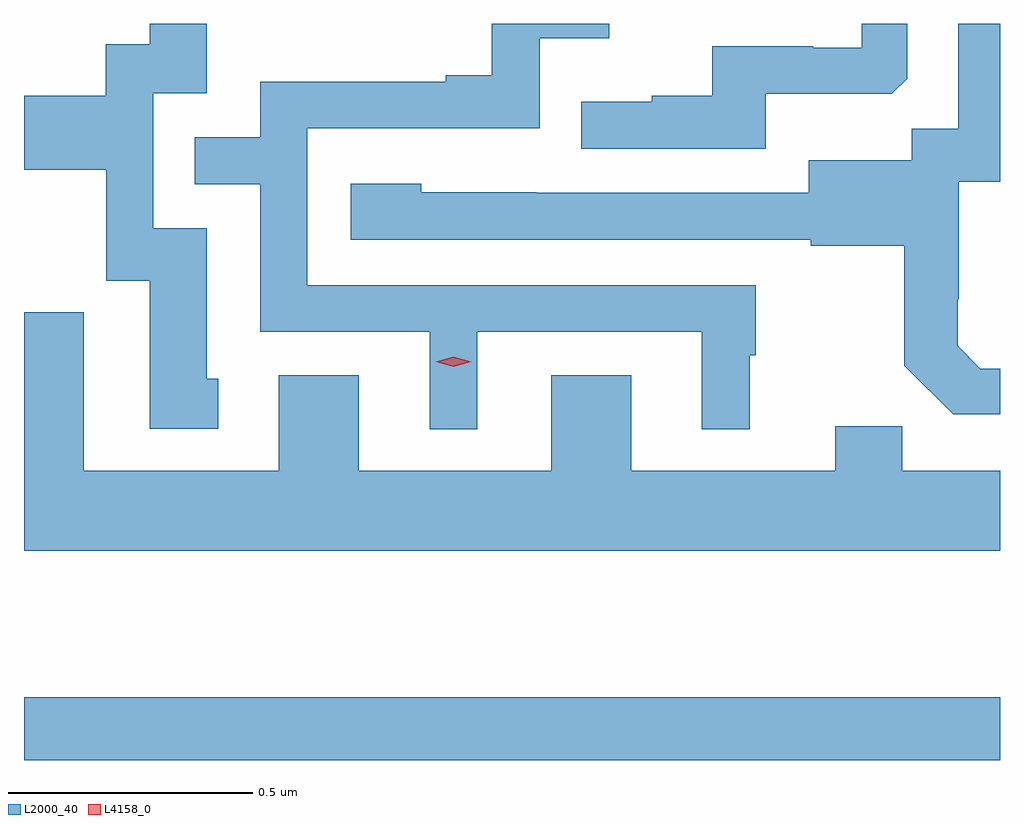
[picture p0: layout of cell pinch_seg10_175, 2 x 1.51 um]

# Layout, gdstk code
import gdstk
lib = gdstk.Library(unit=1e-6, precision=1e-09)
def R(c, l, rs):  # rectangles x0, y0, x1, y1
    for r in rs: c.add(gdstk.rectangle(r[:2], r[2:], *l))
def P(c, l, *ps):  # polygons
    for p in ps: c.add(gdstk.Polygon(p, *l))
L2000_40 = (2000, 40)
L4158_0 = (4158, 0)

pinch_seg10_175 = lib.new_cell('pinch_seg10_175')
R(pinch_seg10_175, L2000_40, [(645.467,1254.598,647.467,1254.727)])
P(pinch_seg10_175, L2000_40, [(647.467,1255.401),(647.427,1255.401),(647.38,1255.448),(647.38,1255.543),(647.382,1255.543),(647.382,1255.784),(647.467,1255.784),(647.467,1256.108),(647.381,1256.108),(647.381,1255.892),(647.286,1255.892),(647.286,1255.828),(647.075,1255.828),(647.075,1255.761),(646.517,1255.761),(646.517,1255.762),(646.281,1255.762),(646.281,1255.78),(646.137,1255.78),(646.137,1255.665),(647.079,1255.665),(647.079,1255.653),(647.271,1255.653),(647.271,1255.407),(647.371,1255.307),(647.467,1255.307)],
  [(646.396,1255.476),(646.856,1255.476),(646.856,1255.277),(646.954,1255.277),(646.954,1255.428),(646.966,1255.428),(646.966,1255.572),(646.047,1255.572),(646.047,1255.893),(646.524,1255.893),(646.524,1256.078),(646.666,1256.078),(646.666,1256.108),(646.426,1256.108),(646.426,1256.002),(646.331,1256.002),(646.331,1255.989),(645.951,1255.989),(645.951,1255.875),(645.817,1255.875),(645.817,1255.779),(645.951,1255.779),(645.951,1255.476),(646.298,1255.476),(646.298,1255.277),(646.396,1255.277)],
  [(646.987,1255.964),(647.245,1255.964),(647.277,1255.995),(647.277,1256.108),(647.184,1256.108),(647.184,1256.058),(647.084,1256.058),(647.084,1256.061),(646.877,1256.061),(646.877,1255.96),(646.753,1255.96),(646.753,1255.948),(646.609,1255.948),(646.609,1255.851),(646.987,1255.851)],
  [(645.865,1255.38),(645.841,1255.38),(645.841,1255.689),(645.732,1255.689),(645.732,1255.965),(645.841,1255.965),(645.841,1256.108),(645.725,1256.108),(645.725,1256.066),(645.635,1256.066),(645.635,1255.96),(645.467,1255.96),(645.467,1255.808),(645.636,1255.808),(645.636,1255.581),(645.725,1255.581),(645.725,1255.278),(645.865,1255.278)],
  [(647.467,1255.192),(647.267,1255.192),(647.267,1255.283),(647.129,1255.283),(647.129,1255.192),(646.711,1255.192),(646.711,1255.387),(646.547,1255.387),(646.547,1255.192),(646.153,1255.192),(646.153,1255.387),(645.989,1255.387),(645.989,1255.192),(645.589,1255.192),(645.589,1255.516),(645.467,1255.516),(645.467,1255.028),(647.467,1255.028)])
P(pinch_seg10_175, L4158_0, [(646.347,1255.405),(646.311,1255.415),(646.311,1255.415),(646.311,1255.415),(646.347,1255.425),(646.383,1255.415),(646.383,1255.415),(646.383,1255.415)])

lib.write_gds('pinch_seg10_175.gds')
